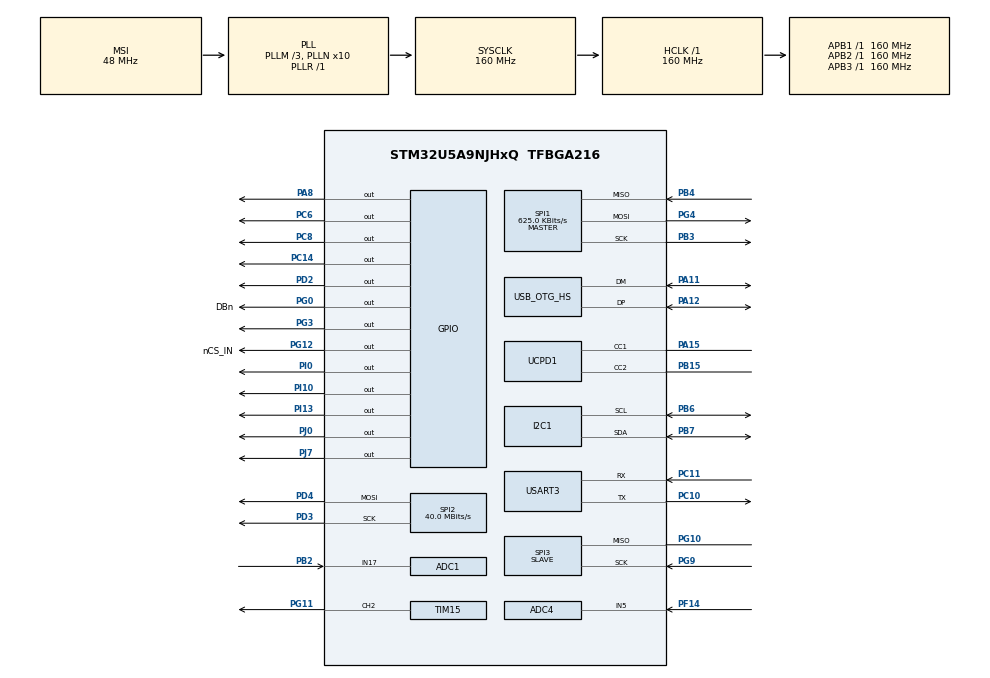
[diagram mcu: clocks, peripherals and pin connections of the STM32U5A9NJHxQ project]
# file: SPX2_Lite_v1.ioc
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ADC1.Channel-1\#ChannelRegularConversion=ADC_CHANNEL_17
ADC1.MonitoredBy-1\#ChannelRegularConversion=__NULL
ADC1.NbrOfConversionFlag=1
ADC1.OffsetNumber-1\#ChannelRegularConversion=ADC_OFFSET_NONE
ADC1.Rank-1\#ChannelRegularConversion=1
ADC1.SamplingTime-1\#ChannelRegularConversion=ADC_SAMPLETIME_5CYCLE
ADC1.master=1
ADC4.Channel-1\#ChannelRegularConversion=ADC_CHANNEL_5
ADC4.ContinuousConvMode=DISABLE
ADC4.EOCSelection=ADC_EOC_SINGLE_CONV
ADC4.NbrOfConversionFlag=1
ADC4.OffsetNumber-1\#ChannelRegularConversion=ADC_OFFSET_NONE
ADC4.Rank-1\#ChannelRegularConversion=1
ADC4.RankArg-1\#ChannelRegularConversion=ADC4_REGULAR_RANK_1
ADC4.SamplingTime-1\#ChannelRegularConversion=ADC4_SAMPLINGTIME_COMMON_1
ADC4.SelectedChannel=ADC_CHANNEL_5|ADC_CHANNEL_VREFINT
CORTEX_M33_NS.userName=CORTEX_M33
GPDMA1.DATAEXCHANGE_GPDMACH5-SIMPLEREQUEST_GPDMACH5=DMA_EXCHANGE_DEST_BYTE|DMA_EXCHANGE_DEST_HALFWORD|DMA_EXCHANGE_SRC_BYTE
GPDMA1.DESTINC_GPDMACH0=DMA_DINC_INCREMENTED
GPDMA1.DESTINC_GPDMACH1=DMA_DINC_FIXED
GPDMA1.DESTINC_GPDMACH3=DMA_DINC_INCREMENTED
GPDMA1.DESTINC_GPDMACH5=DMA_DINC_INCREMENTED
GPDMA1.DIRECTION_GPDMACH1=DMA_MEMORY_TO_PERIPH
GPDMA1.DIRECTION_GPDMACH3=DMA_MEMORY_TO_PERIPH
GPDMA1.IPHANDLE_GPDMACH0-SIMPLEREQUEST_GPDMACH0=__NULL
GPDMA1.IPHANDLE_GPDMACH1-SIMPLEREQUEST_GPDMACH1=__NULL
GPDMA1.IPHANDLE_GPDMACH3-SIMPLEREQUEST_GPDMACH3=__NULL
GPDMA1.IPHANDLE_GPDMACH5-SIMPLEREQUEST_GPDMACH5=__NULL
GPDMA1.IPINSTANCE_GPDMACH0=SPI3
GPDMA1.IPINSTANCE_GPDMACH3=UCPD1
GPDMA1.IPINSTANCE_GPDMACH5=UCPD1
GPDMA1.LINKALLOCATEDPORT_CIRCULAR_GPDMACH3=DMA_LINK_ALLOCATED_PORT0
GPDMA1.LINKALLOCATEDPORT_CIRCULAR_GPDMACH5=DMA_LINK_ALLOCATED_PORT0
GPDMA1.PRIORITY_GPDMACH0=DMA_LOW_PRIORITY_LOW_WEIGHT
GPDMA1.REQUEST_GPDMACH0=GPDMA1_REQUEST_SPI3_RX
GPDMA1.REQUEST_GPDMACH1=GPDMA1_REQUEST_SPI2_TX
GPDMA1.REQUEST_GPDMACH3=GPDMA1_REQUEST_UCPD1_TX
GPDMA1.REQUEST_GPDMACH5=GPDMA1_REQUEST_UCPD1_RX
GPDMA1.SRCBURSTLENGTH_GPDMACH1=1
GPDMA1.SRCINC_GPDMACH0=DMA_SINC_FIXED
GPDMA1.SRCINC_GPDMACH1=DMA_SINC_INCREMENTED
GPDMA1.SRCINC_GPDMACH3=DMA_SINC_INCREMENTED
GPDMA1.SRCINC_GPDMACH5=DMA_SINC_INCREMENTED
GPDMA1.TRANSFERALLOCATEDPORT_GPDMACH0=TRANSFERALLOCATEDPORTSRC_GPDMACH0|TRANSFERALLOCATEDPORTDEST_GPDMACH0
GPDMA1.TRANSFERALLOCATEDPORT_GPDMACH3=TRANSFERALLOCATEDPORTSRC_GPDMACH3|TRANSFERALLOCATEDPORTDEST_GPDMACH3
GPDMA1.TRANSFERALLOCATEDPORT_GPDMACH5=TRANSFERALLOCATEDPORTSRC_GPDMACH5|TRANSFERALLOCATEDPORTDEST_GPDMACH5
I2C1.Timing=0x30909DEC
Mcu.Family=STM32U5
Mcu.Name=STM32U5A9NJHxQ
Mcu.Package=TFBGA216
NETXDUO.NX_DISABLE_ICMP_RX_CHECKSUM=true
NETXDUO.NX_DISABLE_LOOPBACK_INTERFACE=true
NETXDUO.NX_DISABLE_RX_SIZE_CHECKING=false
NETXDUO.NX_ENABLE_INTERFACE_CAPABILITY=true
NETXDUO.NX_ENABLE_IP_RAW_PACKET_FILTER=false
NETXDUO.NX_IP_PERIODIC_RATE=1000
NVIC.ADC1_2_IRQn=true\:0\:0\:false\:false\:true\:false\:true\:true\:true
NVIC.ADC4_IRQn=true\:0\:0\:false\:false\:true\:false\:true\:true\:true
NVIC.GPDMA1_Channel0_IRQn=true\:0\:0\:false\:false\:true\:true\:false\:true\:true
NVIC.GPDMA1_Channel1_IRQn=true\:0\:0\:false\:false\:true\:true\:false\:true\:true
NVIC.GPDMA1_Channel3_IRQn=true\:0\:0\:false\:false\:true\:true\:false\:true\:true
NVIC.GPDMA1_Channel5_IRQn=true\:0\:0\:false\:false\:true\:true\:false\:true\:true
NVIC.OTG_HS_IRQn=true\:6\:0\:true\:false\:true\:false\:true\:true\:true
NVIC.PriorityGroup=NVIC_PRIORITYGROUP_4
NVIC.SPI2_IRQn=true\:0\:0\:false\:false\:true\:false\:false\:true\:true
NVIC.SPI3_IRQn=true\:0\:0\:true\:false\:true\:false\:true\:true\:true
NVIC.TIM6_IRQn=true\:15\:0\:true\:false\:true\:false\:false\:true\:true
NVIC.TimeBase=TIM6_IRQn
NVIC.TimeBaseIP=TIM6
PA11.Mode=Internal_Phy_Device
PA11.Signal=USB_OTG_HS_DM
PA12.Mode=Internal_Phy_Device
PA12.Signal=USB_OTG_HS_DP
PA13\ (JTMS/SWDIO).Mode=Serial_Wire
PA13\ (JTMS/SWDIO).Signal=DEBUG_JTMS-SWDIO
PA14\ (JTCK/SWCLK).Mode=Serial_Wire
PA14\ (JTCK/SWCLK).Signal=DEBUG_JTCK-SWCLK
PA15\ (JTDI).Mode=Sink_AllSignals
PA15\ (JTDI).Signal=UCPD1_CC1
PA8.Signal=GPIO_Output
PB15.Mode=Sink_AllSignals
PB15.Signal=UCPD1_CC2
PB2.Mode=IN17-Single-Ended
PB2.Signal=ADC1_IN17
PB3\ (JTDO/TRACESWO).Mode=Full_Duplex_Master
PB3\ (JTDO/TRACESWO).Signal=SPI1_SCK
PB4\ (NJTRST).Mode=Full_Duplex_Master
PB4\ (NJTRST).Signal=SPI1_MISO
PB6.Mode=I2C
PB6.Signal=I2C1_SCL
PB7.Mode=I2C
PB7.Signal=I2C1_SDA
PC0.Signal=ADC2_IN1
PC10.Mode=Asynchronous
PC10.Signal=USART3_TX
PC11.Mode=Asynchronous
PC11.Signal=USART3_RX
PC14-OSC32_IN\ (PC14).PinState=GPIO_PIN_RESET
PC14-OSC32_IN\ (PC14).Signal=GPIO_Output
PC6.Signal=GPIO_Output
PC8.Signal=GPIO_Output
PD2.Signal=GPIO_Output
PD3.GPIO_Speed=GPIO_SPEED_FREQ_VERY_HIGH
PD3.Mode=TX_Only_Simplex_Unidirect_Master
PD3.Signal=SPI2_SCK
PD4.GPIO_Speed=GPIO_SPEED_FREQ_VERY_HIGH
PD4.Mode=TX_Only_Simplex_Unidirect_Master
PD4.Signal=SPI2_MOSI
PF14.Mode=IN5
PF14.Signal=ADC4_IN5
PG0.GPIO_Label=DBn
PG0.PinState=GPIO_PIN_RESET
PG0.Signal=GPIO_Output
PG10.GPIO_Speed=GPIO_SPEED_FREQ_VERY_HIGH
PG10.Mode=Simplex_Bidirectional_Slave
PG10.Signal=SPI3_MISO
PG11.GPIO_Speed=GPIO_SPEED_FREQ_VERY_HIGH
PG11.Signal=S_TIM15_CH2
PG12.GPIO_Label=nCS_IN
PG12.GPIO_Speed=GPIO_SPEED_FREQ_VERY_HIGH
PG12.Signal=GPIO_Output
PG3.Signal=GPIO_Output
PG4.Mode=Full_Duplex_Master
PG4.Signal=SPI1_MOSI
PG9.GPIO_Speed=GPIO_SPEED_FREQ_VERY_HIGH
PG9.Mode=Simplex_Bidirectional_Slave
PG9.Signal=SPI3_SCK
PH0-OSC_IN\ (PH0).Mode=HSE-External-Oscillator
PH0-OSC_IN\ (PH0).Signal=RCC_OSC_IN
PH1-OSC_OUT\ (PH1).Mode=HSE-External-Oscillator
PH1-OSC_OUT\ (PH1).Signal=RCC_OSC_OUT
PI0.Signal=GPIO_Output
PI10.Signal=GPIO_Output
PI13.Signal=GPIO_Output
PJ0.Signal=GPIO_Output
PJ7.PinState=GPIO_PIN_RESET
PJ7.Signal=GPIO_Output
ProjectManager.HeapSize=0x20000
ProjectManager.StackSize=0x400
ProjectManager.TargetToolchain=STM32CubeIDE
RCC.ADCFreq_Value=16000000
RCC.AHBFreq_Value=160000000
RCC.APB1Freq_Value=160000000
RCC.APB1TimFreq_Value=160000000
RCC.APB2Freq_Value=160000000
RCC.APB2TimFreq_Value=160000000
RCC.APB3Freq_Value=160000000
RCC.CortexFreq_Value=160000000
RCC.EPOD_VALUE=48000000
RCC.HCLKFreq_Value=160000000
RCC.HSE_VALUE=32000000
RCC.HSI48_VALUE=48000000
RCC.HSI_VALUE=16000000
RCC.LSE_VALUE=32768
RCC.LSIDIV_VALUE=32000
RCC.MSIClockRange=RCC_MSIRANGE_0
RCC.MSI_VALUE=48000000
RCC.PLL1R=1
RCC.PLL3M=2
RCC.PLL3Source=RCC_PLLSOURCE_HSI
RCC.PLLFRACN=0
RCC.PLLM=3
RCC.PLLN=10
RCC.SPI1CLockSelection=RCC_SPI1CLKSOURCE_PCLK2
RCC.SPI2CLockSelection=RCC_SPI2CLKSOURCE_PCLK1
RCC.SPI3CLockSelection=RCC_SPI3CLKSOURCE_PCLK3
RCC.SYSCLKFreq_VALUE=160000000
RCC.SYSCLKSource=RCC_SYSCLKSOURCE_PLLCLK
RCC.USBPHYCLockSelection=RCC_USBPHYCLKSOURCE_HSE
RCC.VCOOutputFreq_Value=160000000
SH.S_TIM15_CH2.0=TIM15_CH2,PWM Generation2 CH2
SPI1.BaudRatePrescaler=SPI_BAUDRATEPRESCALER_256
SPI1.CalculateBaudRate=625.0 KBits/s
SPI1.DataSize=SPI_DATASIZE_8BIT
SPI1.Direction=SPI_DIRECTION_2LINES
SPI1.Mode=SPI_MODE_MASTER
SPI1.VirtualType=VM_MASTER
SPI2.BaudRatePrescaler=SPI_BAUDRATEPRESCALER_4
SPI2.CLKPhase=SPI_PHASE_1EDGE
SPI2.CLKPolarity=SPI_POLARITY_LOW
SPI2.CalculateBaudRate=40.0 MBits/s
SPI2.DataSize=SPI_DATASIZE_8BIT
SPI2.Direction=SPI_DIRECTION_2LINES_TXONLY
SPI2.Mode=SPI_MODE_MASTER
SPI2.VirtualType=VM_MASTER
SPI3.CLKPhase=SPI_PHASE_1EDGE
SPI3.Direction=SPI_DIRECTION_1LINE
SPI3.Mode=SPI_MODE_SLAVE
SPI3.VirtualType=VM_SLAVE
THREADX.TX_BASEPRI_VALUE=8
THREADX.TX_ENABLE_BASEPRI_SUPPORT=0
THREADX.TX_TIMER_TICKS_PER_SECOND=1000
TIM15.Channel-PWM\ Generation2\ CH2=TIM_CHANNEL_2
TIM15.PeriodNoDither=2-1
TIM15.Prescaler=4-1
USART3.VirtualMode-Asynchronous=VM_ASYNC
USBX.BSP.number=1
USBX.Core_System=1
USBX.MAX_POWER_IN_MILLI_AMPER=500
USBX.Network_Driver=1
USBX.USBD_PID=0x5742
USBX.USBD_RNDIS_EPINCMD_ADDR=2
USBX.USBD_RNDIS_EPOUT_ADDR=3
USBX.USBD_VID=1155
USBX.USBX_DEVICE_SYS_SIZE=38*1024
USBX.UX_DEVICE_APP_MEM_POOL_SIZE=64*1024
USBX.UX_DEVICE_RNDIS=1
USBX.UX_Device_Controller=1
USBX.UX_Device_CoreStack=1
USBX.UX_PERIODIC_RATE-Core_System=1000
USBX.UX_PERIODIC_RATE-UX_Device_CoreStack_HS=1000
USBX0.BSP.STBoard=false
USBX0.BSP.api=Unknown
USBX0.BSP.instance=USB_OTG_HS
USBX0.BSP.ip=USB_OTG_HS
USBX0.BSP.mode=Device_Only
USBX0.BSP.name=USBDevice
USBX0.BSP.solution=USB_OTG_HS
USB_OTG_HS.DeviceSpeed=PCD_SPEED_HIGH
USB_OTG_HS.RefClockSelection=SYSCFG_OTG_HS_PHY_CLK_SELECT_6
USB_OTG_HS.VirtualMode=Device_HS
VP_ADC4_Vref_Input.Mode=IN-Vrefint
VP_GPDMA1_VS_GPDMACH0.Mode=SIMPLEREQUEST_GPDMACH0
VP_GPDMA1_VS_GPDMACH1.Mode=SIMPLEREQUEST_GPDMACH1
VP_GPDMA1_VS_GPDMACH3.Mode=SIMPLEREQUEST_GPDMACH3
VP_GPDMA1_VS_GPDMACH5.Mode=SIMPLEREQUEST_GPDMACH5
VP_ICACHE_VS_ICACHE.Mode=DirectMappedCache
VP_LPBAMQUEUE_VS_QUEUE.Mode=QUEUEMODE
VP_LPBAM_VS_SIG1.Mode=SmartRun
VP_LPBAM_VS_SIG4.Mode=LPDMA1
VP_MEMORYMAP_VS_MEMORYMAP.Mode=CurAppReg
VP_NETXDUO_VS_AddonsOoDHCP.Mode=Addons_DHCP_Server
VP_NETXDUO_VS_NXOoCore.Mode=NX_Core
VP_PWR_VS_SECSignals.Mode=Security/Privilege
VP_PWR_Vdda.Mode=isolationVdda
VP_SYS_VS_tim6.Mode=TIM6
VP_THREADX_VS_RTOSJjThreadXJjCoreJjDefault.Mode=Core_Default
VP_USBX_Core_System.Mode=Core_System
VP_USBX_Network_Driver.Mode=Network_Driver
VP_USBX_UX\ Device\ Controller_HS.Mode=UX_Device_Controller_HS
VP_USBX_UX\ Device\ CoreStack_HS.Mode=UX_Device_CoreStack_HS
VP_USBX_UX\ Device\ RNDIS_HS.Mode=UX_Device_class_RNDIS_HS
board=custom

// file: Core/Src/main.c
/* USER CODE BEGIN Header */
/**
  ******************************************************************************
  * @file           : main.c
  * @brief          : Main program body
  ******************************************************************************
  * @attention
  *
  * Copyright (c) 2024 STMicroelectronics.
  * All rights reserved.
  *
  * This software is licensed under terms that can be found in the LICENSE file
  * in the root directory of this software component.
  * If no LICENSE file comes with this software, it is provided AS-IS.
  *
  ******************************************************************************
  */

/* USER CODE END Header */
#include "app_threadx.h"
#include "main.h"
#include "adc.h"
#include "gpdma.h"
#include "i2c.h"
#include "icache.h"
#include "spi.h"
#include "tim.h"
#include "ucpd.h"
#include "usart.h"
#include "gpio.h"

/* USER CODE BEGIN Includes */
#include "pinout.h"
#include "debug.h"
#include "board.h"
#include "tpx2_comm.h"
/* USER CODE END Includes */

/* USER CODE BEGIN PD */
#define ARRAY_LENGTH(x)		(sizeof(x)/sizeof(x[0]))
enum{U5};
#define MCU			U5	//Define here the MCU being used
/* USER CODE END PD */

void SystemClock_Config(void);
/* USER CODE BEGIN PFP */
void JumpToBootloader(void);

/* USER CODE END PFP */

int main(void)
{

  /* USER CODE BEGIN 1 */

	//JumpToBootloader();
  /* USER CODE END 1 */

  /* MCU Configuration--------------------------------------------------------*/

  /* Reset of all peripherals, Initializes the Flash interface and the Systick. */
  HAL_Init();

  /* USER CODE BEGIN Init */
  HAL_PWREx_EnableVddIO2();			// Enable PWR for PG[15:2]
  HAL_PWREx_EnableVddA();

  /* USER CODE END Init */

  /* Configure the system clock */
  SystemClock_Config();

  /* Initialize all configured peripherals */
  MX_GPIO_Init();
  MX_GPDMA1_Init();
  MX_USART3_UART_Init();
  MX_SPI1_Init();
  MX_SPI2_Init();
  MX_SPI3_Init();
  MX_ADC1_Init();
  MX_ADC4_Init();
  MX_TIM15_Init();
  MX_I2C1_Init();
  MX_ICACHE_Init();
  MX_UCPD1_Init();
  /* USER CODE BEGIN 2 */

  log_debug("Starting...\n");
  log_debug("Test_Vitek");
  board_tpx2_set_pwr_en2v5(TPXA, 1);			// TURN ON 2V5 PWR for tpx
  Delay(100);
  HAL_GPIO_WritePin(LED_port, LED_pin, GPIO_PIN_RESET);

  /* USER CODE END 2 */

  MX_ThreadX_Init();

  /* We should never get here as control is now taken by the scheduler */

  /* Infinite loop */
  while (1)
  {

  }
}

void SystemClock_Config(void)
{
  RCC_OscInitTypeDef RCC_OscInitStruct = {0};
  RCC_ClkInitTypeDef RCC_ClkInitStruct = {0};

  /** Configure the main internal regulator output voltage
  */
  if (HAL_PWREx_ControlVoltageScaling(PWR_REGULATOR_VOLTAGE_SCALE1) != HAL_OK)
  {
    Error_Handler();
  }

  /** Initializes the CPU, AHB and APB buses clocks
  */
  RCC_OscInitStruct.OscillatorType = RCC_OSCILLATORTYPE_HSI|RCC_OSCILLATORTYPE_HSE
                              |RCC_OSCILLATORTYPE_MSI;
  RCC_OscInitStruct.HSEState = RCC_HSE_ON;
  RCC_OscInitStruct.HSIState = RCC_HSI_ON;
  RCC_OscInitStruct.HSICalibrationValue = RCC_HSICALIBRATION_DEFAULT;
  RCC_OscInitStruct.MSIState = RCC_MSI_ON;
  RCC_OscInitStruct.MSICalibrationValue = RCC_MSICALIBRATION_DEFAULT;
  RCC_OscInitStruct.MSIClockRange = RCC_MSIRANGE_0;
  RCC_OscInitStruct.PLL.PLLState = RCC_PLL_ON;
  RCC_OscInitStruct.PLL.PLLSource = RCC_PLLSOURCE_MSI;
  RCC_OscInitStruct.PLL.PLLMBOOST = RCC_PLLMBOOST_DIV4;
  RCC_OscInitStruct.PLL.PLLM = 3;
  RCC_OscInitStruct.PLL.PLLN = 10;
  RCC_OscInitStruct.PLL.PLLP = 2;
  RCC_OscInitStruct.PLL.PLLQ = 2;
  RCC_OscInitStruct.PLL.PLLR = 1;
  RCC_OscInitStruct.PLL.PLLRGE = RCC_PLLVCIRANGE_1;
  RCC_OscInitStruct.PLL.PLLFRACN = 0;
  if (HAL_RCC_OscConfig(&RCC_OscInitStruct) != HAL_OK)
  {
    Error_Handler();
  }

  /** Initializes the CPU, AHB and APB buses clocks
  */
  RCC_ClkInitStruct.ClockType = RCC_CLOCKTYPE_HCLK|RCC_CLOCKTYPE_SYSCLK
                              |RCC_CLOCKTYPE_PCLK1|RCC_CLOCKTYPE_PCLK2
                              |RCC_CLOCKTYPE_PCLK3;
  RCC_ClkInitStruct.SYSCLKSource = RCC_SYSCLKSOURCE_PLLCLK;
  RCC_ClkInitStruct.AHBCLKDivider = RCC_SYSCLK_DIV1;
  RCC_ClkInitStruct.APB1CLKDivider = RCC_HCLK_DIV1;
  RCC_ClkInitStruct.APB2CLKDivider = RCC_HCLK_DIV1;
  RCC_ClkInitStruct.APB3CLKDivider = RCC_HCLK_DIV1;

  if (HAL_RCC_ClockConfig(&RCC_ClkInitStruct, FLASH_LATENCY_4) != HAL_OK)
  {
    Error_Handler();
  }
}

/* USER CODE BEGIN 4 */
void JumpToBootloader (void)
{
	uint32_t i=0;
	void (*SysMemBootJump)(void);

	/* Set a vector addressed with STM32 Microcontrollers names */
	/* Each vector position contains an address to the boot loader entry point */

	volatile uint32_t BootAddr[33];
	BootAddr[U5]     = 0x0BF90000;

	/* Disable all interrupts */
	__disable_irq();

	/* Disable Systick timer */
	SysTick->CTRL = 0;

	/* Set the clock to the default state */
	HAL_RCC_DeInit();

	/* Clear Interrupt Enable Register & Interrupt Pending Register */
	for (i=0;i<5;i++)
	{
		NVIC->ICER[i]=0xFFFFFFFF;
		NVIC->ICPR[i]=0xFFFFFFFF;
	}

	/* Re-enable all interrupts */
	__enable_irq();

	/* Set up the jump to boot loader address + 4 */
	SysMemBootJump = (void (*)(void)) (*((uint32_t *) ((BootAddr[MCU] + 4))));

	/* Set the main stack pointer to the boot loader stack */
	__set_MSP(*(uint32_t *)BootAddr[MCU]);

	/* Call the function to jump to boot loader location */
	SysMemBootJump();

	/* Jump is done successfully */
	while (1)
	{
		/* Code should never reach this loop */
	}
}
void HAL_ADC_ConvCpltCallback(ADC_HandleTypeDef* hadc) {
	//HAL_GPIO_TogglePin(LED_port, LED_pin);		// LED0 toggle
	Delay(5);
}

#if 0
// Called when buffer is completely filled
void HAL_SPI_RxCpltCallback(SPI_HandleTypeDef * hspi)
{
	//HAL_GPIO_TogglePin(LED_port, LED_pin);		// LED0 toggle
	//HAL_SPI_Receive_DMA(SPI_TPX2_RX, (uint8_t *)rxbuf, len);
	//HAL_Delay(200);
}
#endif

PUTCHAR_PROTOTYPE
{
  /* Place your implementation of fputc here */
  /* e.g. write a character to the USART2 and Loop until the end of transmission */
  HAL_UART_Transmit(UART, (uint8_t *)&ch, 1, 0xFFFF);
  return ch;
}
/* USER CODE END 4 */

void HAL_TIM_PeriodElapsedCallback(TIM_HandleTypeDef *htim)
{
  if (htim->Instance == TIM6)
  {
    HAL_IncTick();
  }
}

void Error_Handler(void)
{
  __disable_irq();
  while (1)
  {
  }
}
